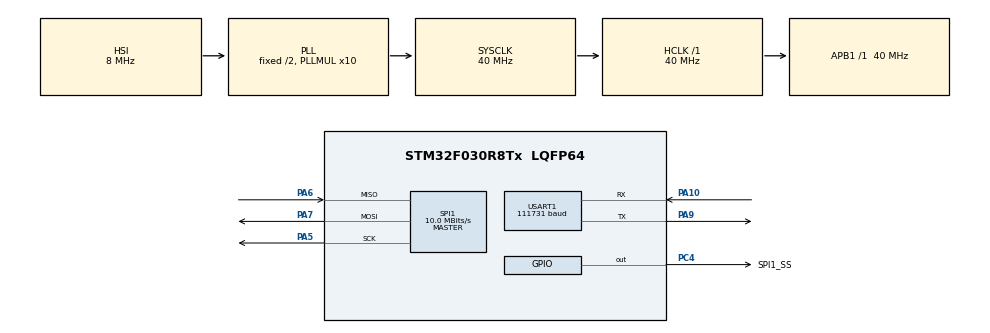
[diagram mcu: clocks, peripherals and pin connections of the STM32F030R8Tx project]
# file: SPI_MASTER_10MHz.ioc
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Mcu.Family=STM32F0
Mcu.Name=STM32F030R8Tx
Mcu.Package=LQFP64
NVIC.TIM1_BRK_UP_TRG_COM_IRQn=true\:0\:0\:false\:false\:true\:true\:true\:true
NVIC.USART1_IRQn=true\:0\:0\:false\:false\:true\:true\:true\:true
PA10.Mode=Asynchronous
PA10.Signal=USART1_RX
PA5.Mode=Full_Duplex_Master
PA5.Signal=SPI1_SCK
PA6.Mode=Full_Duplex_Master
PA6.Signal=SPI1_MISO
PA7.Mode=Full_Duplex_Master
PA7.Signal=SPI1_MOSI
PA9.Mode=Asynchronous
PA9.Signal=USART1_TX
PC4.GPIO_Label=SPI1_SS
PC4.GPIO_PuPd=GPIO_PULLUP
PC4.GPIO_Speed=GPIO_SPEED_FREQ_HIGH
PC4.PinState=GPIO_PIN_SET
PC4.Signal=GPIO_Output
ProjectManager.HeapSize=0x200
ProjectManager.StackSize=0x400
ProjectManager.TargetToolchain=STM32CubeIDE
RCC.AHBFreq_Value=40000000
RCC.APB1Freq_Value=40000000
RCC.APB1TimFreq_Value=40000000
RCC.HCLKFreq_Value=40000000
RCC.PLLMUL=RCC_PLL_MUL10
RCC.SYSCLKFreq_VALUE=40000000
RCC.SYSCLKSource=RCC_SYSCLKSOURCE_PLLCLK
SPI1.BaudRatePrescaler=SPI_BAUDRATEPRESCALER_4
SPI1.CalculateBaudRate=10.0 MBits/s
SPI1.DataSize=SPI_DATASIZE_8BIT
SPI1.Direction=SPI_DIRECTION_2LINES
SPI1.Mode=SPI_MODE_MASTER
SPI1.NSSPMode=SPI_NSS_PULSE_DISABLE
SPI1.VirtualType=VM_MASTER
TIM1.AutoReloadPreload=TIM_AUTORELOAD_PRELOAD_ENABLE
TIM1.Period=30000
TIM1.Prescaler=2
USART1.BaudRate=111731
USART1.MSBFirstParam=ADVFEATURE_MSBFIRST_DISABLE
USART1.Mode=MODE_TX
USART1.OverSampling=UART_OVERSAMPLING_8
USART1.VirtualMode-Asynchronous=VM_ASYNC
USART1.WordLength=WORDLENGTH_8B
VP_TIM1_VS_ClockSourceINT.Mode=Internal
board=custom

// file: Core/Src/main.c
/* USER CODE BEGIN Header */
/**
  ******************************************************************************
  * @file           : main.c
  * @brief          : Main program body
  ******************************************************************************
  * @attention
  *
  * Copyright (c) 2023 STMicroelectronics.
  * All rights reserved.
  *
  * This software is licensed under terms that can be found in the LICENSE file
  * in the root directory of this software component.
  * If no LICENSE file comes with this software, it is provided AS-IS.
  *
  ******************************************************************************
  */
/* USER CODE END Header */
#include "main.h"

/* USER CODE BEGIN Includes */
#include <stdbool.h>
#include <stdio.h>
#include <string.h>
/* USER CODE END Includes */

/* USER CODE BEGIN PD */

#define spiSize  18  /* Number of bytes to be transmitted */
#define spiWords  9  /* Number of words (byte pairs) to be transmitted */
#define uartChars 6  /* Number of characters needed to represent 1 UART data element */
#define adcWords  6  /* Number of ADC words to be received */

/* USER CODE END PD */

SPI_HandleTypeDef hspi1;

TIM_HandleTypeDef htim1;

UART_HandleTypeDef huart1;

/* USER CODE BEGIN PV */

/* SPI TRANSMIT & RECEIVE BUFFERS*/
uint8_t txData[spiSize]; /* Transmit data buffer */
uint8_t rxData[spiSize]; /* Receive data buffer */

/* MOSI VARIABLES CONFIGURATION */
bool testMode = 1; /* testMode = 1 --> test mode, 0 --> auto mode */
bool out0     = 1; /* GPO_0 */
bool out1     = 0; /* GPO_1 */
bool out2     = 1; /* GPO_2 */

/* MISO VARIABLES */
uint8_t misoData[spiSize];   /* Buffer for obtaining the status word */
uint16_t adcData[adcWords];  /* ADC data buffer */
uint16_t adcDataCpy[adcWords] = {2180, 3125, 2180, 3125, 2180, 3125}; /* Dummy buffer for testing */

/* For printing results to UART */
char uartBuf[spiWords][6];
char statusWord[16];

/* Benchmarking */
uint32_t currentTime = 0;
uint32_t elapsedTime = 0;

/* USER CODE END PV */

void SystemClock_Config(void);
static void MX_GPIO_Init(void);
static void MX_SPI1_Init(void);
static void MX_TIM1_Init(void);
static void MX_USART1_UART_Init(void);
/* USER CODE BEGIN PFP */

uint8_t* setTxData(uint8_t* txData, bool* testMode, bool* out0, bool* out1, bool* out2);
uint16_t* readADC(uint16_t* adcData);
void handleReceivedData (uint8_t* rxData, uint16_t* adcData);
int abs(int timerTicks); /* For benchmarking */

/* Printing ADC values to the terminal via UART */
void uartPrint(uint16_t* adcData, char(*uartBuf)[uartChars]);

/* Converting numerical ADC values to strings */
char* uint16_to_char_array(uint16_t adcData, char* uartBuf, size_t bufSize);

/* USER CODE END PFP */

int main(void)
{

  /* MCU Configuration--------------------------------------------------------*/

  /* Reset of all peripherals, Initializes the Flash interface and the Systick. */
  HAL_Init();

  /* Configure the system clock */
  SystemClock_Config();

  /* Initialize all configured peripherals */
  MX_GPIO_Init();
  MX_SPI1_Init();
  MX_TIM1_Init();
  MX_USART1_UART_Init();
  /* USER CODE BEGIN 2 */

  /* CONFIIGURE THE CONTROL DATA BUFFER */

  /* Initialize the entire TX data buffer to 0. */
  for(int i = 0; i < spiSize; i++)
      txData[i] = 0;

  /* Configure data to send via SPI*/
  setTxData(txData, &testMode, &out0, &out1, &out2);

  /* Initialize the UART data buffer to all blank characters */
  for(int i = 0; i < spiWords; i++)
  	for(int j = 0; j < uartChars; j++)
  	{
  	   uartBuf[i][j] = ' ';
  	}

  /* Initialize the UART interrupt */
  HAL_UART_Transmit_IT(&huart1, (uint8_t *)"\r\n", 2); /* Print a blank line */

  /* Enable TIM1 interrupt */
  HAL_TIM_Base_Start_IT(&htim1);

  /* USER CODE END 2 */

  /* Infinite loop */
  while (1)
  {

  }
}

void SystemClock_Config(void)
{
  RCC_OscInitTypeDef RCC_OscInitStruct = {0};
  RCC_ClkInitTypeDef RCC_ClkInitStruct = {0};
  RCC_PeriphCLKInitTypeDef PeriphClkInit = {0};

  /** Initializes the RCC Oscillators according to the specified parameters
  * in the RCC_OscInitTypeDef structure.
  */
  RCC_OscInitStruct.OscillatorType = RCC_OSCILLATORTYPE_HSI;
  RCC_OscInitStruct.HSIState = RCC_HSI_ON;
  RCC_OscInitStruct.HSICalibrationValue = RCC_HSICALIBRATION_DEFAULT;
  RCC_OscInitStruct.PLL.PLLState = RCC_PLL_ON;
  RCC_OscInitStruct.PLL.PLLSource = RCC_PLLSOURCE_HSI;
  RCC_OscInitStruct.PLL.PLLMUL = RCC_PLL_MUL10;
  RCC_OscInitStruct.PLL.PREDIV = RCC_PREDIV_DIV1;
  if (HAL_RCC_OscConfig(&RCC_OscInitStruct) != HAL_OK)
  {
    Error_Handler();
  }

  /** Initializes the CPU, AHB and APB buses clocks
  */
  RCC_ClkInitStruct.ClockType = RCC_CLOCKTYPE_HCLK|RCC_CLOCKTYPE_SYSCLK
                              |RCC_CLOCKTYPE_PCLK1;
  RCC_ClkInitStruct.SYSCLKSource = RCC_SYSCLKSOURCE_PLLCLK;
  RCC_ClkInitStruct.AHBCLKDivider = RCC_SYSCLK_DIV1;
  RCC_ClkInitStruct.APB1CLKDivider = RCC_HCLK_DIV1;

  if (HAL_RCC_ClockConfig(&RCC_ClkInitStruct, FLASH_LATENCY_1) != HAL_OK)
  {
    Error_Handler();
  }
  PeriphClkInit.PeriphClockSelection = RCC_PERIPHCLK_USART1;
  PeriphClkInit.Usart1ClockSelection = RCC_USART1CLKSOURCE_PCLK1;
  if (HAL_RCCEx_PeriphCLKConfig(&PeriphClkInit) != HAL_OK)
  {
    Error_Handler();
  }
}

static void MX_SPI1_Init(void)
{

  /* SPI1 parameter configuration*/
  hspi1.Instance = SPI1;
  hspi1.Init.Mode = SPI_MODE_MASTER;
  hspi1.Init.Direction = SPI_DIRECTION_2LINES;
  hspi1.Init.DataSize = SPI_DATASIZE_8BIT;
  hspi1.Init.CLKPolarity = SPI_POLARITY_LOW;
  hspi1.Init.CLKPhase = SPI_PHASE_1EDGE;
  hspi1.Init.NSS = SPI_NSS_SOFT;
  hspi1.Init.BaudRatePrescaler = SPI_BAUDRATEPRESCALER_4;
  hspi1.Init.FirstBit = SPI_FIRSTBIT_MSB;
  hspi1.Init.TIMode = SPI_TIMODE_DISABLE;
  hspi1.Init.CRCCalculation = SPI_CRCCALCULATION_DISABLE;
  hspi1.Init.CRCPolynomial = 7;
  hspi1.Init.CRCLength = SPI_CRC_LENGTH_DATASIZE;
  hspi1.Init.NSSPMode = SPI_NSS_PULSE_DISABLE;
  if (HAL_SPI_Init(&hspi1) != HAL_OK)
  {
    Error_Handler();
  }

}

static void MX_TIM1_Init(void)
{

  TIM_ClockConfigTypeDef sClockSourceConfig = {0};
  TIM_MasterConfigTypeDef sMasterConfig = {0};

  htim1.Instance = TIM1;
  htim1.Init.Prescaler = 2;
  htim1.Init.CounterMode = TIM_COUNTERMODE_UP;
  htim1.Init.Period = 30000;
  htim1.Init.ClockDivision = TIM_CLOCKDIVISION_DIV1;
  htim1.Init.RepetitionCounter = 0;
  htim1.Init.AutoReloadPreload = TIM_AUTORELOAD_PRELOAD_ENABLE;
  if (HAL_TIM_Base_Init(&htim1) != HAL_OK)
  {
    Error_Handler();
  }
  sClockSourceConfig.ClockSource = TIM_CLOCKSOURCE_INTERNAL;
  if (HAL_TIM_ConfigClockSource(&htim1, &sClockSourceConfig) != HAL_OK)
  {
    Error_Handler();
  }
  sMasterConfig.MasterOutputTrigger = TIM_TRGO_RESET;
  sMasterConfig.MasterSlaveMode = TIM_MASTERSLAVEMODE_DISABLE;
  if (HAL_TIMEx_MasterConfigSynchronization(&htim1, &sMasterConfig) != HAL_OK)
  {
    Error_Handler();
  }
  /* USER CODE BEGIN TIM1_Init 2 */
  __HAL_RCC_TIM1_CLK_ENABLE();
  /* USER CODE END TIM1_Init 2 */

}

static void MX_USART1_UART_Init(void)
{

  /* USER CODE BEGIN USART1_Init 0 */
  __HAL_RCC_USART1_CLK_ENABLE();
  /* USER CODE END USART1_Init 0 */

  huart1.Instance = USART1;
  huart1.Init.BaudRate = 111731;
  huart1.Init.WordLength = UART_WORDLENGTH_8B;
  huart1.Init.StopBits = UART_STOPBITS_1;
  huart1.Init.Parity = UART_PARITY_NONE;
  huart1.Init.Mode = UART_MODE_TX;
  huart1.Init.HwFlowCtl = UART_HWCONTROL_NONE;
  huart1.Init.OverSampling = UART_OVERSAMPLING_8;
  huart1.Init.OneBitSampling = UART_ONE_BIT_SAMPLE_DISABLE;
  huart1.AdvancedInit.AdvFeatureInit = UART_ADVFEATURE_NO_INIT;
  if (HAL_UART_Init(&huart1) != HAL_OK)
  {
    Error_Handler();
  }

}

static void MX_GPIO_Init(void)
{
  GPIO_InitTypeDef GPIO_InitStruct = {0};

  /* GPIO Ports Clock Enable */
  __HAL_RCC_GPIOA_CLK_ENABLE();
  __HAL_RCC_GPIOC_CLK_ENABLE();

  /*Configure GPIO pin Output Level */
  HAL_GPIO_WritePin(SPI1_SS_GPIO_Port, SPI1_SS_Pin, GPIO_PIN_SET);

  /*Configure GPIO pin : SPI1_SS_Pin */
  GPIO_InitStruct.Pin = SPI1_SS_Pin;
  GPIO_InitStruct.Mode = GPIO_MODE_OUTPUT_PP;
  GPIO_InitStruct.Pull = GPIO_PULLUP;
  GPIO_InitStruct.Speed = GPIO_SPEED_FREQ_HIGH;
  HAL_GPIO_Init(SPI1_SS_GPIO_Port, &GPIO_InitStruct);

}

/* USER CODE BEGIN 4 */

/* Configuring the MOSI line bits */
uint8_t* setTxData(uint8_t* txData, bool* testMode, bool* out0, bool* out1, bool* out2)
  {

    /* Test mode is the MSbit of the CW (second byte, last bit). If it is 0, mode is automatic. If 1, mode is manual. */
    if(*testMode)
      txData[0] |= (1u << 7);
    else
      txData[0] &= ~(1u << 7);

    /* Configuring commands for GPO pins */
    if(*out0)
      txData[1] |= (1u << 0);
    else
      txData[1] &= ~(1u << 0);

    if(*out1)
      txData[1] |= (1u << 1);
    else
      txData[1] &= ~(1u << 1);

    if(*out2)
      txData[1] |= (1u << 2);
    else
      txData[1] &= ~(1u << 2);

    return txData;
   }

/* Reading the ADC data from the MISO line, by byte pairs */
uint16_t* readADC(uint16_t* adcData)
  {
     for(int i = 1; i <= adcWords; i++)
         adcData[i-1] = (uint16_t)( (uint16_t)(rxData[2*i] & 0x0F) << 8 | rxData[2*i+1] );

     return adcData;
  }

/* Handling received data */
void handleReceivedData (uint8_t* rxData, uint16_t* adcData)
  {
      /* OBTAINING THE ENTIRE STATUS WORD */
      memcpy(misoData, rxData, spiSize);

      /* Obtaining the latest ADC data */
      readADC(adcData);
  }

/* Converting data to char arrays, to print via UART */
char* uint16_to_char_array(uint16_t adcData, char* uartBuf, size_t bufSize)
  {
     int i = bufSize - 1;
	 uartBuf[i] = '\0';  /* Null-terminate the buffer */

	 if (adcData == 0)
		 uartBuf[--i] = '0';
	 else
		 while (adcData != 0 && i >= 0)
		     {
			    uartBuf[--i] = '0' + (adcData % 10);
				adcData /= 10;
		      }

	 return uartBuf;
   }

/* Printing data to UART */
void uartPrint(uint16_t* adcData, char(*uartBuf)[uartChars])
  {
	    /* Convert the status word (1st 2 bytes of MISO data to characters, '1' or '0') */
	    int k = 0;
	    for(int i = 0; i < 2; i++)
	    for(int j = 7; j >= 0; j--)
	       statusWord[k++] = (misoData[i] & (1u << j))?'1':'0';

	    HAL_UART_Transmit(&huart1, (uint8_t *)"\r\n", 2, 50); /* Print a blank line */

        /* Print the status word */
	    HAL_UART_Transmit(&huart1, (uint8_t *)"Status word: \r\n", 15, 50);
	    HAL_UART_Transmit(&huart1, (uint8_t *)statusWord, 16, 50);
	    HAL_UART_Transmit(&huart1, (uint8_t *)"\r\n", 2, 50);

		/* Print ADC data: */
		for(int j = 0; j < adcWords; j++)
		   {
			  if(j == 0)
			    HAL_UART_Transmit(&huart1, (uint8_t *)"ADC data: \r\n", 12, 50);

			  uint16_to_char_array(adcDataCpy[j], uartBuf[j], sizeof(uartBuf[j])); /* Currently the dummy buffer, adcDataCpy is used */
			  HAL_UART_Transmit(&huart1, (uint8_t *)uartBuf[j], sizeof(uartBuf[j]), 50);
			  HAL_UART_Transmit(&huart1, (uint8_t *)"\r\n", 2, 50);
			}

		/* New blank line */
		HAL_UART_Transmit_IT(&huart1, (uint8_t *)"\r\n", 2);
  }

/* UART transmit interrupt callback function */
void HAL_UART_TxCpltCallback(UART_HandleTypeDef *huart)
{
   if (huart == &huart1)
    {
      uartPrint(adcDataCpy, uartBuf);
    }
}

/* 31.25us timer callback function, for SPI communication */
void HAL_TIM_PeriodElapsedCallback(TIM_HandleTypeDef *htim)
{
	/* Timer 1 elapsed */
    if (htim->Instance == TIM1)
        {
    	   currentTime = TIM1->CNT; /* Benchmarking, value represents the current number of timer ticks */

			 HAL_GPIO_WritePin(SPI1_SS_GPIO_Port, SPI1_SS_Pin, GPIO_PIN_RESET);        /* Pull SS pin LOW */

			 HAL_SPI_TransmitReceive(&hspi1, txData, rxData, spiSize, 100);            /* Transmit and receive (FULL-DUPLEX) */

			 HAL_GPIO_WritePin(SPI1_SS_GPIO_Port, SPI1_SS_Pin, GPIO_PIN_SET);          /* Pull SS pin HIGH */

			 /* Handle received data */
			 handleReceivedData(rxData, adcData);

         }
             elapsedTime = abs((int)(TIM1->CNT)-(int)currentTime); /* Elapsed time for TIM1 callback, in ticks */
}

/* USER CODE END 4 */

void Error_Handler(void)
{
  __disable_irq();
  while (1)
  {
  }
}
